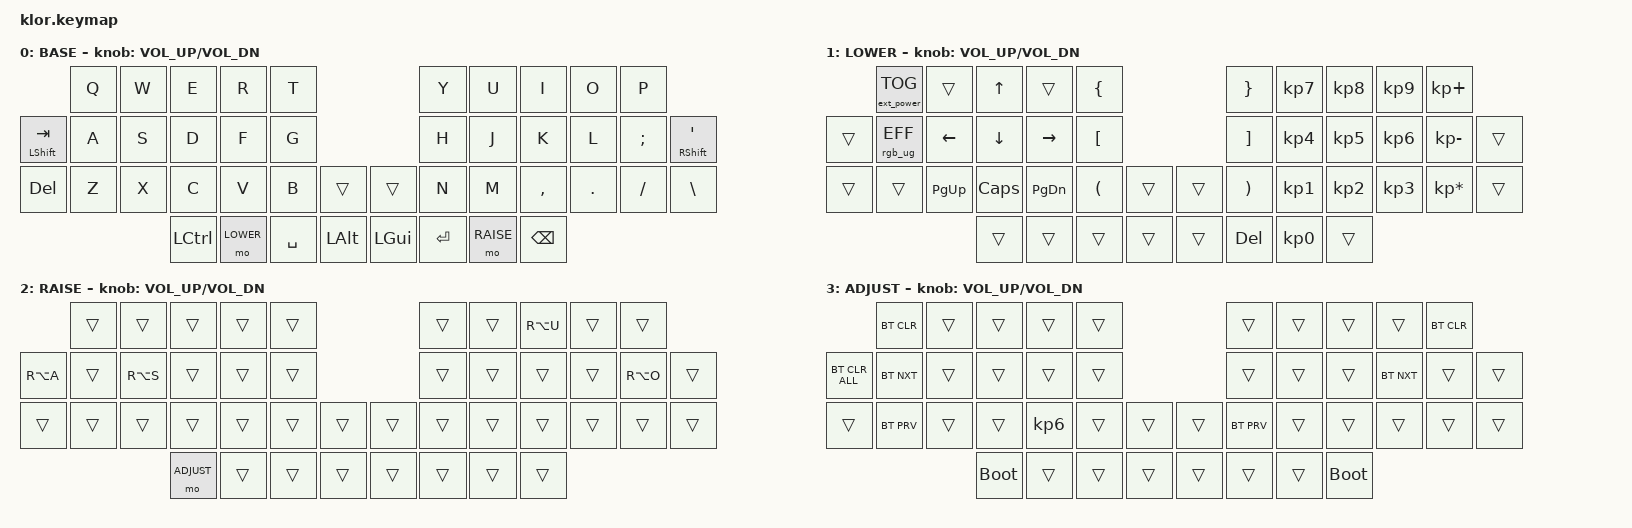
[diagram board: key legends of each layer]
//                               █         █    █            ▄▄▄▀▀▀▀▀▀▄▄▄        █▀▀▀▀▀▀▀▀▀▀█
//                               █        █     █          ▄▀            ▀▄      █          █
//                               █       █      █        ▄▀                ▀▄    █          █
//                               █      █       █        █                  █    █          █
//                               █     █        █       █                    █   █          █
//                               █    █         █       █                    █   █▄▄▄▄▄▄▄▄▄▄█
//                               █   █ █        █       █                    █   █      █
//                               █  █   █       █        █                  █    █       █
//                               █ █     █      █        ▀▄                ▄▀    █        █
//                               ██       █     █          ▀▄            ▄▀      █         █
//                               █         █    █▄▄▄▄▄▄▄▄    ▀▀▀▄▄▄▄▄▄▀▀▀        █          █
//
// ▄▄▄▄▄▄▄▄▄▄▄▄▄▄▄▄▄▄▄▄▄▄▄▄▄▄▄▄▄▄▄▄▄▄▄▄▄▄▄▄▄▄▄▄▄▄▄▄▄▄▄▄▄▄▄▄▄▄▄▄▄▄▄▄▄▄▄▄▄▄▄▄▄▄▄▄▄▄▄▄▄▄▄▄▄▄▄▄▄▄▄▄▄▄▄▄▄▄▄▄▄▄▄▄▄▄▄▄▄▄▄▄▄▄▄▄▄▄▄▄▄▄▄▄▄
       
#include <behaviors.dtsi>
#include <dt-bindings/zmk/keys.h>
#include <dt-bindings/zmk/bt.h>
#include <dt-bindings/zmk/outputs.h>
#include <dt-bindings/zmk/ext_power.h>
#include <dt-bindings/zmk/rgb.h>
#include <dt-bindings/zmk/bt.h>


#define BASE   0
#define LOWER  1
#define RAISE  2
#define ADJUST 3


/ {
    behaviors {
        hm: homerow_mods {
            compatible = "zmk,behavior-hold-tap";
            label = "HOMEROW_MODS";
            #binding-cells = <2>;
            tapping-term-ms = <250>;
            quick_tap_ms = <0>;
            flavor = "tap-preferred";
            require-prior-idle-ms = <200>;
            bindings = <&kp>, <&kp>;
        };

    };

     combos {
            compatible = "zmk,combos";
            combo_esc {
                timeout-ms = <50>;
                key-positions = <0 1>;
                bindings = <&kp ESC>;
            };
    };



        keymap {
                compatible = "zmk,keymap";
// ▄▄▄▄▄▄▄▄▄▄▄▄▄▄▄▄▄▄▄▄▄▄▄▄▄▄▄▄▄▄▄▄▄▄▄▄▄▄▄▄▄▄▄▄▄▄▄▄▄▄▄▄▄▄▄▄▄▄▄▄▄▄▄▄▄▄▄▄▄▄▄▄▄▄▄▄▄▄▄▄▄▄▄▄▄▄▄▄▄▄▄▄▄▄▄▄▄▄▄▄▄▄▄▄▄▄▄▄▄▄▄▄▄▄▄▄▄▄▄▄▄▄▄▄▄▄▄▄▄▄▄▄▄▄▄▄▄▄▄▄▄▄


                base_layer {
// ┌───────────────────────────────────────────────────────────┐
label= "BASE"                                                  ;
// └───────────────────────────────────────────────────────────┘
/*           ┌─────────┬─────────┬─────────┬─────────┬─────────┐                    ┌─────────┬─────────┬─────────┬─────────┬─────────┐
             │    Q    │    W    │    E    │    R    │    T    │                    │    Y    │    U    │    I    │    O    │    P    │   
   ┌─────────┼─────────┼─────────┼─────────┼─────────┼─────────┤                    ├─────────┼─────────┼─────────┼─────────┼─────────┼─────────┐
   │   TAB   │    A    │    S    │    D    │    F    │    G    │                    │    H    │    J    │    K    │    L    │    ;    │    "    │
   ├─────────┼─────────┼─────────┼─────────┼─────────┼─────────┤╭────────╮╭────────╮├─────────┼─────────┼─────────┼─────────┼─────────┼─────────┤
   │   DEL   │    Z    │    X    │    C    │    V    │    B    ││  MUTE  ││PLY/PSE ││    N    │    M    │    ,    │    .    │    /    │    \    │
   └─────────┴─────────┴─────────┼─────────┼─────────┼─────────┼╰────────╯╰────────╯┼─────────┼─────────┼─────────┼─────────┴─────────┴─────────┘
                                 │  CTRL   │  LOWER  │  SPACE  │   ALT   ││ CMD/WIN │  ENTER  │  RAISE  │  BSPCE  │  
                                 └─────────┴─────────┴─────────┴─────────┘└─────────┴─────────┴─────────┴─────────┘ */ 
 bindings = <
 //╷         ╷         ╷         ╷         ╷         ╷         ╷         ╷╷         ╷         ╷         ╷         ╷         ╷         ╷         ╷
              &kp Q     &kp W     &kp E     &kp R     &kp T                          &kp Y     &kp U     &kp I     &kp O     &kp P
    &hm LSHFT TAB   &kp A     &kp S     &kp D   &kp F &kp G                          &kp H     &kp J &kp K     &kp L     &kp SEMI  &hm RSHFT SQT
    &kp DEL   &kp Z     &kp X     &kp C     &kp V     &kp B     &trans     &trans    &kp N     &kp M     &kp COMMA &kp DOT   &kp FSLH  &kp BSLH
                                  &kp LCTRL &mo LOWER &kp SPACE &kp LALT   &kp LGUI  &kp RET   &mo RAISE &kp BSPC    
                        >;
            sensor-bindings = <&inc_dec_kp C_VOL_UP C_VOL_DN>;
                };

// ▄▄▄▄▄▄▄▄▄▄▄▄▄▄▄▄▄▄▄▄▄▄▄▄▄▄▄▄▄▄▄▄▄▄▄▄▄▄▄▄▄▄▄▄▄▄▄▄▄▄▄▄▄▄▄▄▄▄▄▄▄▄▄▄▄▄▄▄▄▄▄▄▄▄▄▄▄▄▄▄▄▄▄▄▄▄▄▄▄▄▄▄▄▄▄▄▄▄▄▄▄▄▄▄▄▄▄▄▄▄▄▄▄▄▄▄▄▄▄▄▄▄▄▄▄▄▄▄▄▄▄▄▄▄▄▄▄▄▄▄▄▄


                lower_layer {
// ┌───────────────────────────────────────────────────────────┐
label= "LOWER"                                                 ;
// └───────────────────────────────────────────────────────────┘
/*           ┌─────────┬─────────┬─────────┬─────────┬─────────┐                    ┌─────────┬─────────┬─────────┬─────────┬─────────┐
             │         │         │    UP   │         │    {    │                    │    }    │    7    │    8    │    9    │    +    │
   ┌─────────┼─────────┼─────────┼─────────┼─────────┼─────────┤                    ├─────────┼─────────┼─────────┼─────────┼─────────┼─────────┐
   │         │         │   LEFT  │  DOWN   │  RIGHT  │    [    │                    │    ]    │    4    │    5    │    6    │    -    │         │
   ├─────────┼─────────┼─────────┼─────────┼─────────┼─────────┤╭────────╮╭────────╮├─────────┼─────────┼─────────┼─────────┼─────────┼─────────┤
   │         │         │   P UP  │ C LOCK  │ P DOWN  │    (    ││        ││        ││    )    │    1    │    2    │    3    │    *    │         │
   └─────────┴─────────┴─────────┼─────────┼─────────┼─────────┼╰────────╯╰────────╯┼─────────┼─────────┼─────────┼─────────┴─────────┴─────────┘
                                 │         │         │         │         ││         │         │    0    │         │  
                                 └─────────┴─────────┴─────────┴─────────┘└─────────┴─────────┴─────────┴─────────┘ */ 
 bindings = <
 //╷         ╷         ╷         ╷         ╷         ╷         ╷         ╷╷         ╷         ╷         ╷         ╷         ╷         ╷         ╷
    &ext_power EP_TOG   &trans    &kp UP    &trans    &kp LBRC                       &kp RBRC  &kp KP_N7 &kp KP_N8 &kp KP_N9 &kp KP_PLUS
    &trans  &rgb_ug RGB_EFF    &kp LEFT  &kp DOWN  &kp RIGHT &kp LBKT                       &kp RBKT  &kp KP_N4 &kp KP_N5 &kp KP_N6 &kp KP_MINUS &trans
    &trans    &trans    &kp PG_UP &kp CAPS  &kp PG_DN &kp LPAR  &trans     &trans    &kp RPAR  &kp KP_N1 &kp KP_N2 &kp KP_N3 &kp KP_MULTIPLY &trans
                                  &trans    &trans    &trans    &trans     &trans    &kp DELETE &kp KP_N0 &trans  
                        >;
            sensor-bindings = <&inc_dec_kp C_VOL_UP C_VOL_DN>;
                };

// ▄▄▄▄▄▄▄▄▄▄▄▄▄▄▄▄▄▄▄▄▄▄▄▄▄▄▄▄▄▄▄▄▄▄▄▄▄▄▄▄▄▄▄▄▄▄▄▄▄▄▄▄▄▄▄▄▄▄▄▄▄▄▄▄▄▄▄▄▄▄▄▄▄▄▄▄▄▄▄▄▄▄▄▄▄▄▄▄▄▄▄▄▄▄▄▄▄▄▄▄▄▄▄▄▄▄▄▄▄▄▄▄▄▄▄▄▄▄▄▄▄▄▄▄▄


                raise_layer {
// ┌───────────────────────────────────────────────────────────┐
label= "RAISE"                                                 ;
// └───────────────────────────────────────────────────────────┘
/*           ┌─────────┬─────────┬─────────┬─────────┬─────────┐                    ┌─────────┬─────────┬─────────┬─────────┬─────────┐
             │         │         │         │         │         │                    │         │         │    Ü    │         │         │
   ┌─────────┼─────────┼─────────┼─────────┼─────────┼─────────┤                    ├─────────┼─────────┼─────────┼─────────┼─────────┼─────────┐
   │    Ä    │         │    ß    │         │         │         │                    │         │         │         │         │    Ö    │         │
   ├─────────┼─────────┼─────────┼─────────┼─────────┼─────────┤╭────────╮╭────────╮├─────────┼─────────┼─────────┼─────────┼─────────┼─────────┤
   │         │         │         │         │         │         ││        ││        ││         │         │         │         │         │         │
   └─────────┴─────────┴─────────┼─────────┼─────────┼─────────┼╰────────╯╰────────╯┼─────────┼─────────┼─────────┼─────────┴─────────┴─────────┘
                                 │ ADJUST  │         │         │         ││         │         │         │         │  
                                 └─────────┴─────────┴─────────┴─────────┘└─────────┴─────────┴─────────┴─────────┘ */ 
 bindings = <
 //╷         ╷         ╷         ╷         ╷         ╷         ╷         ╷╷         ╷         ╷         ╷         ╷         ╷         ╷         ╷
              &trans    &trans    &trans    &trans    &trans                         &trans    &trans    &kp RA(U) &trans    &trans     
    &kp RA(A) &trans    &kp RA(S) &trans    &trans    &trans                         &trans    &trans    &trans    &trans    &kp RA(O) &trans  
    &trans    &trans    &trans    &trans    &trans    &trans    &trans     &trans    &trans    &trans    &trans    &trans    &trans    &trans
                                  &mo ADJUST &trans   &trans    &trans     &trans    &trans    &trans    &trans  
                        >;
                sensor-bindings = <&inc_dec_kp C_VOL_UP C_VOL_DN>;
                };

// ▄▄▄▄▄▄▄▄▄▄▄▄▄▄▄▄▄▄▄▄▄▄▄▄▄▄▄▄▄▄▄▄▄▄▄▄▄▄▄▄▄▄▄▄▄▄▄▄▄▄▄▄▄▄▄▄▄▄▄▄▄▄▄▄▄▄▄▄▄▄▄▄▄▄▄▄▄▄▄▄▄▄▄▄▄▄▄▄▄▄▄▄▄▄▄▄▄▄▄▄▄▄▄▄▄▄▄▄▄▄▄▄▄▄▄▄▄▄▄▄▄▄▄▄▄


                adjust_layer {
// ┌───────────────────────────────────────────────────────────┐
label= "ADJUST"                                                ;
// └───────────────────────────────────────────────────────────┘
/*           ┌─────────┬─────────┬─────────┬─────────┬─────────┐                    ┌─────────┬─────────┬─────────┬─────────┬─────────┐
             │         │         │         │         │         │                    │         │         │         │         │         │
   ┌─────────┼─────────┼─────────┼─────────┼─────────┼─────────┤                    ├─────────┼─────────┼─────────┼─────────┼─────────┼─────────┐
   │         │         │         │         │         │         │                    │         │         │         │         │         │         │
   ├─────────┼─────────┼─────────┼─────────┼─────────┼─────────┤╭────────╮╭────────╮├─────────┼─────────┼─────────┼─────────┼─────────┼─────────┤
   │         │         │         │         │         │         ││        ││        ││         │         │         │         │         │         │
   └─────────┴─────────┴─────────┼─────────┼─────────┼─────────┼╰────────╯╰────────╯┼─────────┼─────────┼─────────┼─────────┴─────────┴─────────┘
                                 │         │         │         │         ││         │         │         │         │  
                                 └─────────┴─────────┴─────────┴─────────┘└─────────┴─────────┴─────────┴─────────┘ */ 
 bindings = <
 //╷         ╷         ╷         ╷         ╷         ╷         ╷         ╷╷         ╷         ╷         ╷         ╷         ╷         ╷         ╷
             &bt BT_CLR &trans    &trans    &trans    &trans                         &trans    &trans    &trans    &trans    &bt BT_CLR   
    &bt BT_CLR_ALL   &bt BT_NXT &trans    &trans    &trans    &trans                         &trans    &trans    &trans    &bt BT_NXT &trans   &trans 
    &trans   &bt BT_PRV &trans    &trans    &kp KP_N6 &trans    &trans     &trans    &bt BT_PRV &trans   &trans    &trans    &trans    &trans    
                                  &bootloader    &trans    &trans    &trans     &trans    &trans    &trans    &bootloader    
                        >;
            sensor-bindings = <&inc_dec_kp C_VOL_UP C_VOL_DN>;
                };
        };
};
